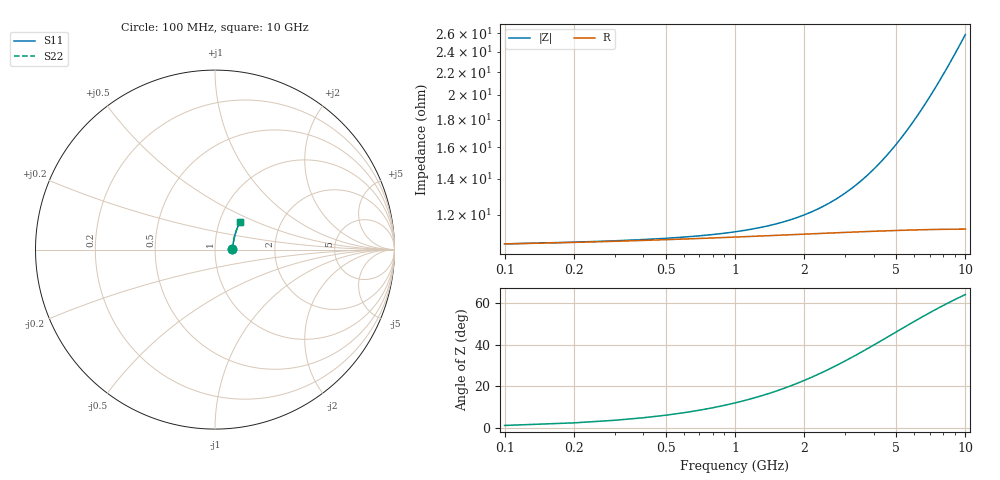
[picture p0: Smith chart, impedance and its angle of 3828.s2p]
# Hz S RI R 50.00
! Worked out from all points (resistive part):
!   100 points, 100 MHz to 10 GHz, reference 50 ohm
!   read as one part in series: R = 10.6 ohm at 100 MHz
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1e8  0.0958 0.00164  0.9042 -0.00217  0.9042 -0.00217  0.0958 0.00164
2e8  0.0964 0.00328  0.9036 -0.00434  0.9036 -0.00434  0.0964 0.00328
3e8  0.0968 0.00491  0.9032 -0.0065  0.9032 -0.0065  0.0968 0.00491
9e8  0.0986 0.0147  0.9014 -0.0194  0.9014 -0.0194  0.0986 0.0147
1.2e9  0.0993 0.0195  0.9007 -0.0259  0.9007 -0.0259  0.0993 0.0195
1.5e9  0.0999 0.0244  0.9 -0.0323  0.9 -0.0323  0.0999 0.0244
1.8e9  0.1006 0.0292  0.8993 -0.0388  0.8993 -0.0388  0.1006 0.0292
2.1e9  0.1013 0.0341  0.8986 -0.0452  0.8986 -0.0452  0.1013 0.0341
2.5e9  0.1024 0.0405  0.8975 -0.0537  0.8975 -0.0537  0.1024 0.0405
2.9e9  0.1035 0.0469  0.8964 -0.0622  0.8964 -0.0622  0.1035 0.0469
3.4e9  0.105 0.0549  0.8949 -0.0729  0.8949 -0.0729  0.105 0.0549
4.1e9  0.1073 0.0659  0.8924 -0.0876  0.8924 -0.0876  0.1073 0.0659
5.1e9  0.1112 0.0816  0.8884 -0.1086  0.8884 -0.1086  0.1112 0.0816
6e9  0.1152 0.0954  0.8842 -0.1272  0.8842 -0.1272  0.1152 0.0954
6.7e9  0.1188 0.106  0.8805 -0.1415  0.8805 -0.1415  0.1188 0.106
7.2e9  0.1215 0.1135  0.8777 -0.1517  0.8777 -0.1517  0.1215 0.1135
7.6e9  0.1238 0.1195  0.8753 -0.1597  0.8753 -0.1597  0.1238 0.1195
8.4e9  0.1287 0.1312  0.8703 -0.1757  0.8703 -0.1757  0.1287 0.1312
8.8e9  0.1313 0.1369  0.8676 -0.1836  0.8676 -0.1836  0.1313 0.1369
9.2e9  0.134 0.1426  0.8648 -0.1914  0.8648 -0.1914  0.134 0.1426
9.6e9  0.1368 0.1482  0.8618 -0.1991  0.8618 -0.1991  0.1368 0.1482
1e10  0.1396 0.1538  0.8588 -0.2068  0.8588 -0.2068  0.1396 0.1538
